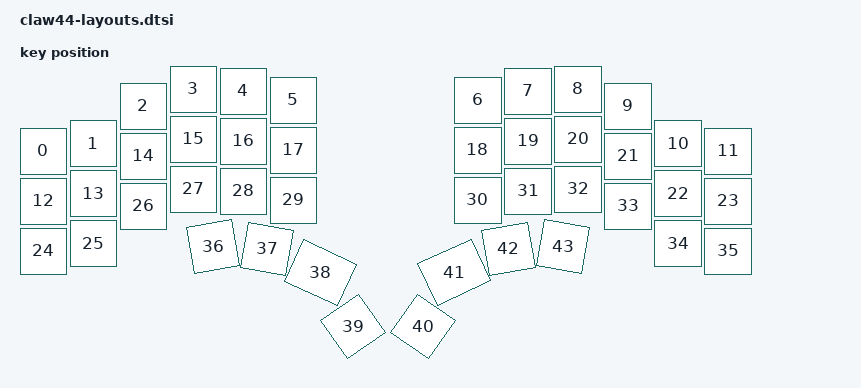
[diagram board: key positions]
#include <physical_layouts.dtsi>

/ {
    physical_layout0: physical_layout_0 {
        compatible = "zmk,physical-layout";
        display-name = "CLAW44";
        transform = <&matrix_transform0>;
        kscan = <&kscan0>;
        keys  //                     w   h    x    y     rot    rx    ry
            = <&key_physical_attrs 100 100    0  124       0     0     0>
            , <&key_physical_attrs 100 100  100  109       0     0     0>
            , <&key_physical_attrs 100 100  200   34       0     0     0>
            , <&key_physical_attrs 100 100  300    0       0     0     0>
            , <&key_physical_attrs 100 100  400    4       0     0     0>
            , <&key_physical_attrs 100 100  500   22       0     0     0>
            , <&key_physical_attrs 100 100  870   22       0     0     0>
            , <&key_physical_attrs 100 100  970    4       0     0     0>
            , <&key_physical_attrs 100 100 1070    0       0     0     0>
            , <&key_physical_attrs 100 100 1170   34       0     0     0>
            , <&key_physical_attrs 100 100 1270  109       0     0     0>
            , <&key_physical_attrs 100 100 1370  124       0     0     0>
            , <&key_physical_attrs 100 100    0  224       0     0     0>
            , <&key_physical_attrs 100 100  100  209       0     0     0>
            , <&key_physical_attrs 100 100  200  134       0     0     0>
            , <&key_physical_attrs 100 100  300  100       0     0     0>
            , <&key_physical_attrs 100 100  400  104       0     0     0>
            , <&key_physical_attrs 100 100  500  122       0     0     0>
            , <&key_physical_attrs 100 100  870  122       0     0     0>
            , <&key_physical_attrs 100 100  970  104       0     0     0>
            , <&key_physical_attrs 100 100 1070  100       0     0     0>
            , <&key_physical_attrs 100 100 1170  134       0     0     0>
            , <&key_physical_attrs 100 100 1270  209       0     0     0>
            , <&key_physical_attrs 100 100 1370  224       0     0     0>
            , <&key_physical_attrs 100 100    0  324       0     0     0>
            , <&key_physical_attrs 100 100  100  309       0     0     0>
            , <&key_physical_attrs 100 100  200  234       0     0     0>
            , <&key_physical_attrs 100 100  300  200       0     0     0>
            , <&key_physical_attrs 100 100  400  204       0     0     0>
            , <&key_physical_attrs 100 100  500  222       0     0     0>
            , <&key_physical_attrs 100 100  870  222       0     0     0>
            , <&key_physical_attrs 100 100  970  204       0     0     0>
            , <&key_physical_attrs 100 100 1070  200       0     0     0>
            , <&key_physical_attrs 100 100 1170  234       0     0     0>
            , <&key_physical_attrs 100 100 1270  309       0     0     0>
            , <&key_physical_attrs 100 100 1370  324       0     0     0>
            , <&key_physical_attrs 100 100  340  315 (-1000)   390   365>
            , <&key_physical_attrs 100 100  448  320    1000   498   370>
            , <&key_physical_attrs 125 100  543  367    2500   605   417>
            , <&key_physical_attrs 100 100  620  475    5500   670   525>
            , <&key_physical_attrs 100 100  760  475 (-5500)   810   525>
            , <&key_physical_attrs 125 100  810  367 (-2500)   872   417>
            , <&key_physical_attrs 100 100  931  320 (-1000)   981   370>
            , <&key_physical_attrs 100 100 1040  315    1000  1090   365>
            ;
    };
};
